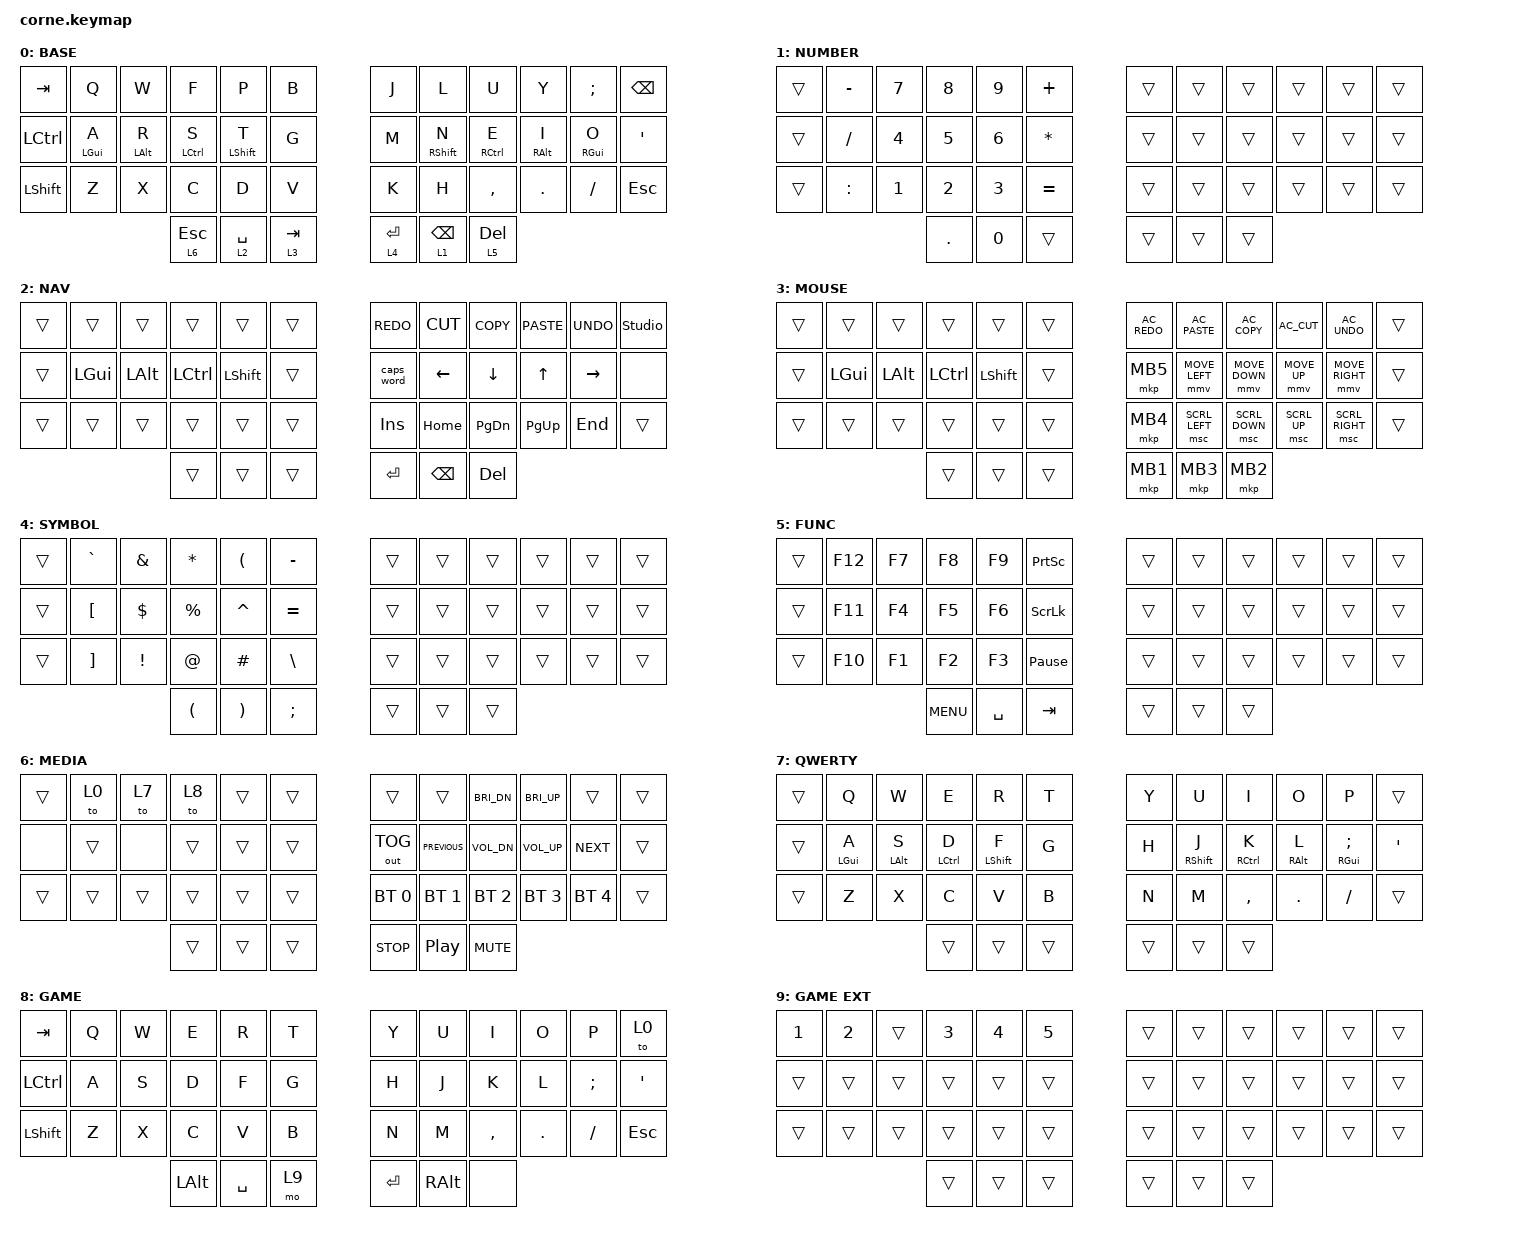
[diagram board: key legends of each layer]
/*
 * Copyright (c) 2020 The ZMK Contributors
 *
 * SPDX-License-Identifier: MIT
 */

#include <dt-bindings/zmk/mouse.h>
#include <behaviors.dtsi>
#include <dt-bindings/zmk/bt.h>
#include <dt-bindings/zmk/keys.h>
#include <dt-bindings/zmk/outputs.h>
#include <dt-bindings/zmk/pointing.h>

&caps_word { continue-list = <UNDERSCORE BACKSPACE DELETE MINUS>; };

/ {
    combos {
        compatible = "zmk,combos";

        qwerty_toggle {
            bindings = <&to 8>;
            key-positions = <11 0>;
        };

        lpar {
            bindings = <&kp LEFT_PARENTHESIS>;
            key-positions = <4 5>;
        };

        rpar {
            bindings = <&kp RIGHT_PARENTHESIS>;
            key-positions = <6 7>;
        };

        lbkt {
            bindings = <&kp LEFT_BRACKET>;
            key-positions = <16 17>;
        };

        rbkt {
            bindings = <&kp RIGHT_BRACKET>;
            key-positions = <18 19>;
        };

        rbrc {
            bindings = <&kp RIGHT_BRACE>;
            key-positions = <30 31>;
        };

        lbrc {
            bindings = <&kp LEFT_BRACE>;
            key-positions = <28 29>;
        };
    };

    behaviors {
        hml: hml {
            compatible = "zmk,behavior-hold-tap";
            label = "homerow_left";
            bindings = <&kp>, <&kp>;

            #binding-cells = <2>;
            quick-tap-ms = <175>;
            flavor = "balanced";
            hold-trigger-key-positions = <6 7 8 9 10 11 18 19 20 21 22 23 30 31 32 33 34 35 39 40 41 36 37 38>;
            hold-trigger-on-release;
            tapping-term-ms = <280>;
        };

        hmr: hmr {
            compatible = "zmk,behavior-hold-tap";
            label = "homerow_right";
            bindings = <&kp>, <&kp>;

            #binding-cells = <2>;
            quick-tap-ms = <175>;
            flavor = "balanced";
            hold-trigger-key-positions = <39 36 37 38 0 1 2 3 4 12 13 14 15 16 24 25 26 27 28 3 4 5 15 16 17 27 28 29 36 37 38 39 40 41>;
            hold-trigger-on-release;
            tapping-term-ms = <280>;
        };
    };

    keymap {
        compatible = "zmk,keymap";

        base_layer {
            bindings = <
&kp TAB         &kp Q            &kp W            &kp F                &kp P              &kp B        &kp J        &kp L               &kp U                 &kp Y             &kp SEMI          &kp BSPC
&kp LCTRL       &hml LEFT_GUI A  &hml LEFT_ALT R  &hml LEFT_CONTROL S  &hml LEFT_SHIFT T  &kp G        &kp M        &hmr RIGHT_SHIFT N  &hmr RIGHT_CONTROL E  &hmr RIGHT_ALT I  &hmr RIGHT_GUI O  &kp SQT
&kp LEFT_SHIFT  &kp Z            &kp X            &kp C                &kp D              &kp V        &kp K        &kp H               &kp COMMA             &kp DOT           &kp FSLH          &kp ESC
                                                  &lt 6 ESCAPE         &lt 2 SPACE        &lt 3 TAB    &lt 4 ENTER  &lt 1 BACKSPACE     &lt 5 DELETE
            >;

            label = "BASE";
        };

        number_layer {
            bindings = <
&trans  &kp MINUS  &kp N7  &kp N8   &kp N9  &kp PLUS     &trans  &trans  &trans  &trans  &trans  &trans
&trans  &kp SLASH  &kp N4  &kp N5   &kp N6  &kp ASTRK    &trans  &trans  &trans  &trans  &trans  &trans
&trans  &kp COLON  &kp N1  &kp N2   &kp N3  &kp EQUAL    &trans  &trans  &trans  &trans  &trans  &trans
                           &kp DOT  &kp N0  &trans       &trans  &trans  &trans
            >;

            label = "NUMBER";
        };

        navigation_layer {
            bindings = <
&trans  &trans        &trans        &trans     &trans          &trans    &kp K_REDO  &kp K_CUT      &kp K_COPY     &kp K_PASTE  &kp K_UNDO  &studio_unlock
&trans  &kp LEFT_GUI  &kp LEFT_ALT  &kp LCTRL  &kp LEFT_SHIFT  &trans    &caps_word  &kp LEFT       &kp DOWN       &kp UP       &kp RIGHT   &none
&trans  &trans        &trans        &trans     &trans          &trans    &kp INS     &kp HOME       &kp PAGE_DOWN  &kp PAGE_UP  &kp END     &trans
                                    &trans     &trans          &trans    &kp RET     &kp BACKSPACE  &kp DELETE
            >;

            label = "NAV";
        };

        mouse_layer {
            bindings = <
&trans  &trans        &trans        &trans            &trans          &trans    &kp C_AC_REDO  &kp C_AC_PASTE  &kp C_AC_COPY   &kp C_AC_CUT  &kp C_AC_UNDO    &trans
&trans  &kp LEFT_GUI  &kp LEFT_ALT  &kp LEFT_CONTROL  &kp LEFT_SHIFT  &trans    &mkp MB5       &mmv MOVE_LEFT  &mmv MOVE_DOWN  &mmv MOVE_UP  &mmv MOVE_RIGHT  &trans
&trans  &trans        &trans        &trans            &trans          &trans    &mkp MB4       &msc SCRL_LEFT  &msc SCRL_DOWN  &msc SCRL_UP  &msc SCRL_RIGHT  &trans
                                    &trans            &trans          &trans    &mkp MB1       &mkp MB3        &mkp MB2
            >;

            label = "MOUSE";
        };

        symbol_layer {
            bindings = <
&trans  &kp GRAVE          &kp AMPS         &kp ASTRK             &kp LEFT_PARENTHESIS   &kp MINUS        &trans  &trans  &trans  &trans  &trans  &trans
&trans  &kp LEFT_BRACKET   &kp DOLLAR       &kp PERCENT           &kp CARET              &kp EQUAL        &trans  &trans  &trans  &trans  &trans  &trans
&trans  &kp RIGHT_BRACKET  &kp EXCLAMATION  &kp AT                &kp HASH               &kp BACKSLASH    &trans  &trans  &trans  &trans  &trans  &trans
                                            &kp LEFT_PARENTHESIS  &kp RIGHT_PARENTHESIS  &kp SEMICOLON    &trans  &trans  &trans
            >;

            label = "SYMBOL";
        };

        function_layer {
            bindings = <
&trans  &kp F12  &kp F7  &kp F8      &kp F9     &kp PRINTSCREEN    &trans  &trans  &trans  &trans  &trans  &trans
&trans  &kp F11  &kp F4  &kp F5      &kp F6     &kp SCROLLLOCK     &trans  &trans  &trans  &trans  &trans  &trans
&trans  &kp F10  &kp F1  &kp F2      &kp F3     &kp PAUSE_BREAK    &trans  &trans  &trans  &trans  &trans  &trans
                         &kp C_MENU  &kp SPACE  &kp TAB            &trans  &trans  &trans
            >;

            label = "FUNC";
        };

        media_layer {
            bindings = <
&trans  &to 0   &to 7   &to 8   &trans  &trans    &trans        &trans            &kp C_BRI_DN  &kp C_BRI_UP  &trans        &trans
&none   &trans  &none   &trans  &trans  &trans    &out OUT_TOG  &kp C_PREVIOUS    &kp C_VOL_DN  &kp C_VOL_UP  &kp C_NEXT    &trans
&trans  &trans  &trans  &trans  &trans  &trans    &bt BT_SEL 0  &bt BT_SEL 1      &bt BT_SEL 2  &bt BT_SEL 3  &bt BT_SEL 4  &trans
                        &trans  &trans  &trans    &kp C_STOP    &kp C_PLAY_PAUSE  &kp C_MUTE
            >;

            label = "MEDIA";
        };

        qwerty_layer {
            bindings = <
&trans  &kp Q            &kp W            &kp E                &kp R              &kp T     &kp Y   &kp U               &kp I                 &kp O             &kp P                &trans
&trans  &hml LEFT_GUI A  &hml LEFT_ALT S  &hml LEFT_CONTROL D  &hml LEFT_SHIFT F  &kp G     &kp H   &hmr RIGHT_SHIFT J  &hmr RIGHT_CONTROL K  &hmr RIGHT_ALT L  &hmr RIGHT_GUI SEMI  &kp APOS
&trans  &kp Z            &kp X            &kp C                &kp V              &kp B     &kp N   &kp M               &kp COMMA             &kp DOT           &kp FSLH             &trans
                                          &trans               &trans             &trans    &trans  &trans              &trans
            >;

            label = "QWERTY";
        };

        gaming_layer {
            bindings = <
&kp TAB    &kp Q  &kp W  &kp E     &kp R      &kp T    &kp Y      &kp U     &kp I      &kp O    &kp P     &to 0
&kp LCTRL  &kp A  &kp S  &kp D     &kp F      &kp G    &kp H      &kp J     &kp K      &kp L    &kp SEMI  &kp APOS
&kp LSHFT  &kp Z  &kp X  &kp C     &kp V      &kp B    &kp N      &kp M     &kp COMMA  &kp DOT  &kp FSLH  &kp ESC
                         &kp LALT  &kp SPACE  &mo 9    &kp ENTER  &kp RALT  &none
            >;

            label = "GAME";
        };

        game_ext {
            bindings = <
&kp N1  &kp N2  &trans  &kp N3  &kp N4  &kp N5    &trans  &trans  &trans  &trans  &trans  &trans
&trans  &trans  &trans  &trans  &trans  &trans    &trans  &trans  &trans  &trans  &trans  &trans
&trans  &trans  &trans  &trans  &trans  &trans    &trans  &trans  &trans  &trans  &trans  &trans
                        &trans  &trans  &trans    &trans  &trans  &trans
            >;

            label = "GAME EXT";
        };
    };
};
